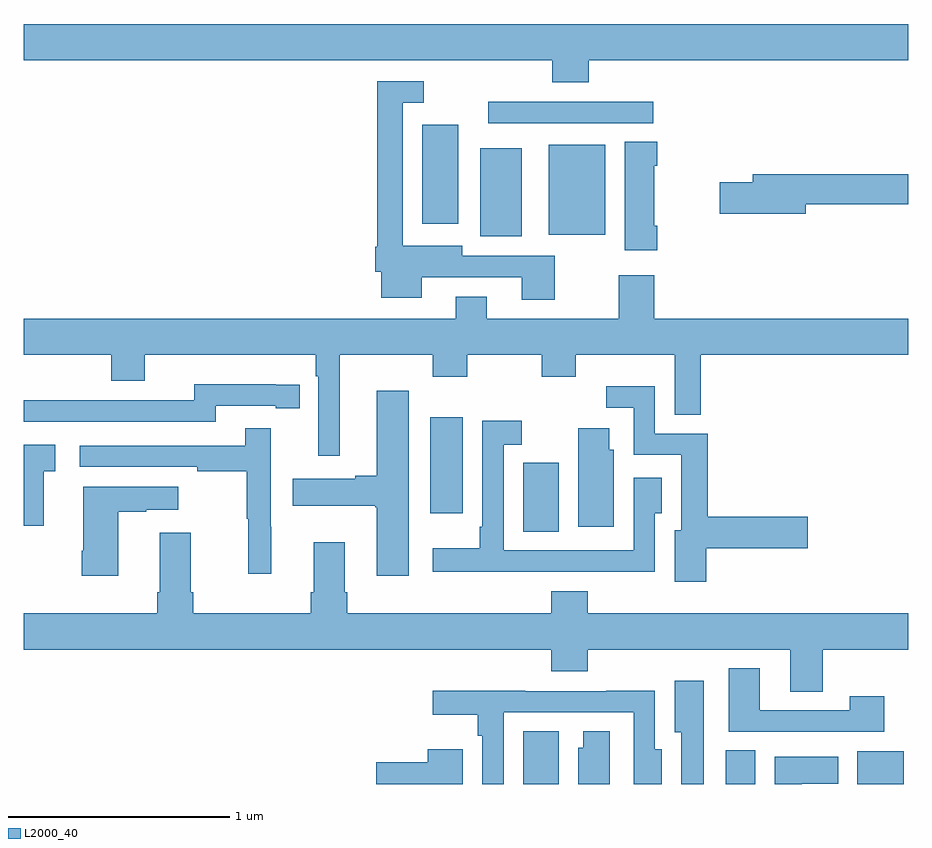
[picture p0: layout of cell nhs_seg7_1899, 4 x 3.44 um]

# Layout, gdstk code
import gdstk
lib = gdstk.Library(unit=1e-6, precision=1e-09)
def R(c, l, rs):  # rectangles x0, y0, x1, y1
    for r in rs: c.add(gdstk.rectangle(r[:2], r[2:], *l))
def P(c, l, *ps):  # polygons
    for p in ps: c.add(gdstk.Polygon(p, *l))
L2000_40 = (2000, 40)

nhs_seg7_1899 = lib.new_cell('nhs_seg7_1899')
R(nhs_seg7_1899, L2000_40, [(241.259,1008,241.42,1008.239), (242.174,1008,242.308,1008.152), (242.768,1008,242.98,1008.148), (241.259,1009.141,241.42,1009.452), (240.839,1009.224,240.985,1009.657), (241.064,1010.477,241.252,1010.875), (241.373,1010.483,241.63,1010.89), (240.803,1010.532,240.964,1010.98), (241.101,1010.988,241.846,1011.084)])
P(nhs_seg7_1899, L2000_40, [(241.556,1011.272),(243,1011.272),(243,1011.436),(239,1011.436),(239,1011.272),(241.391,1011.272),(241.391,1011.173),(241.556,1011.173)],
  [(241.401,1010.388),(240.982,1010.388),(240.982,1010.434),(240.714,1010.434),(240.714,1011.081),(240.808,1011.081),(240.808,1011.177),(240.598,1011.177),(240.598,1010.43),(240.59,1010.43),(240.59,1010.316),(240.617,1010.316),(240.617,1010.198),(240.799,1010.198),(240.799,1010.292),(241.253,1010.292),(241.253,1010.19),(241.401,1010.19)],
  [(241.865,1010.524),(241.852,1010.524),(241.852,1010.795),(241.865,1010.795),(241.865,1010.903),(241.718,1010.903),(241.718,1010.412),(241.865,1010.412)],
  [(242.536,1010.62),(243,1010.62),(243,1010.756),(242.297,1010.756),(242.297,1010.72),(242.148,1010.72),(242.148,1010.578),(242.536,1010.578)],
  [(239,1009.94),(239.396,1009.94),(239.396,1009.823),(239.548,1009.823),(239.548,1009.94),(240.32,1009.94),(240.32,1009.844),(240.333,1009.844),(240.333,1009.485),(240.43,1009.485),(240.43,1009.94),(240.85,1009.94),(240.85,1009.841),(241.005,1009.841),(241.005,1009.94),(241.342,1009.94),(241.342,1009.841),(241.497,1009.841),(241.497,1009.94),(241.943,1009.94),(241.943,1009.669),(242.062,1009.669),(242.062,1009.94),(243,1009.94),(243,1010.104),(241.85,1010.104),(241.85,1010.299),(241.69,1010.299),(241.69,1010.104),(241.093,1010.104),(241.093,1010.203),(240.953,1010.203),(240.953,1010.104),(239,1010.104)],
  [(239.868,1009.71),(240.14,1009.71),(240.14,1009.698),(240.248,1009.698),(240.248,1009.806),(240.14,1009.806),(240.14,1009.807),(239.772,1009.807),(239.772,1009.734),(239.312,1009.734),(239.312,1009.736),(239,1009.736),(239,1009.638),(239.868,1009.638)],
  [(242.087,1009.066),(242.545,1009.066),(242.545,1009.208),(242.092,1009.208),(242.092,1009.584),(241.854,1009.584),(241.854,1009.798),(241.635,1009.798),(241.635,1009.701),(241.758,1009.701),(241.758,1009.488),(241.973,1009.488),(241.973,1009.147),(241.943,1009.147),(241.943,1008.915),(242.087,1008.915)],
  [(240.742,1009.777),(240.596,1009.777),(240.596,1009.394),(240.5,1009.394),(240.5,1009.381),(240.216,1009.381),(240.216,1009.259),(240.589,1009.259),(240.589,1009.252),(240.596,1009.252),(240.596,1008.942),(240.742,1008.942)],
  [(241.267,1008.96),(241.633,1008.96),(241.633,1008.959),(241.854,1008.959),(241.854,1009.225),(241.885,1009.225),(241.885,1009.384),(241.758,1009.384),(241.758,1009.056),(241.17,1009.056),(241.17,1009.533),(241.252,1009.533),(241.252,1009.642),(241.074,1009.642),(241.074,1009.162),(241.062,1009.162),(241.062,1009.066),(240.849,1009.066),(240.849,1008.959),(241.267,1008.959)],
  [(240.119,1009.163),(240.117,1009.163),(240.117,1009.609),(240.001,1009.609),(240.001,1009.53),(239.253,1009.53),(239.253,1009.434),(239.785,1009.434),(239.785,1009.414),(240.009,1009.414),(240.009,1009.2),(240.016,1009.2),(240.016,1008.951),(240.119,1008.951)],
  [(241.669,1009.512),(241.648,1009.512),(241.648,1009.609),(241.508,1009.609),(241.508,1009.164),(241.669,1009.164)],
  [(239.09,1009.413),(239.143,1009.413),(239.143,1009.534),(239,1009.534),(239,1009.167),(239.09,1009.167)],
  [(239.428,1009.231),(239.555,1009.231),(239.555,1009.241),(239.698,1009.241),(239.698,1009.345),(239.27,1009.345),(239.27,1009.054),(239.263,1009.054),(239.263,1008.942),(239.428,1008.942)],
  [(242.613,1008.608),(243,1008.608),(243,1008.772),(241.55,1008.772),(241.55,1008.871),(241.385,1008.871),(241.385,1008.772),(240.464,1008.772),(240.464,1008.868),(240.451,1008.868),(240.451,1009.093),(240.311,1009.093),(240.311,1008.868),(240.299,1008.868),(240.299,1008.772),(239.768,1008.772),(239.768,1008.868),(239.755,1008.868),(239.755,1009.135),(239.615,1009.135),(239.615,1008.868),(239.603,1008.868),(239.603,1008.772),(239,1008.772),(239,1008.608),(241.385,1008.608),(241.385,1008.509),(241.55,1008.509),(241.55,1008.608),(242.465,1008.608),(242.465,1008.418),(242.613,1008.418)],
  [(242.89,1008.397),(242.734,1008.397),(242.734,1008.333),(242.329,1008.333),(242.329,1008.523),(242.189,1008.523),(242.189,1008.237),(242.89,1008.237)],
  [(242.074,1008.466),(241.943,1008.466),(241.943,1008.233),(241.973,1008.233),(241.973,1008),(242.074,1008)],
  [(241.17,1008.324),(241.758,1008.324),(241.758,1008),(241.885,1008),(241.885,1008.156),(241.854,1008.156),(241.854,1008.422),(241.633,1008.422),(241.633,1008.42),(241.267,1008.42),(241.267,1008.422),(240.849,1008.422),(240.849,1008.314),(241.054,1008.314),(241.054,1008.218),(241.074,1008.218),(241.074,1008),(241.17,1008)],
  [(241.651,1008.239),(241.529,1008.239),(241.529,1008.165),(241.508,1008.165),(241.508,1008),(241.651,1008)],
  [(240.985,1008.157),(240.827,1008.157),(240.827,1008.098),(240.594,1008.098),(240.594,1008),(240.985,1008)],
  [(242.518,1008.002),(242.683,1008.002),(242.683,1008.124),(242.396,1008.124),(242.396,1008),(242.518,1008)])

lib.write_gds('nhs_seg7_1899.gds')
